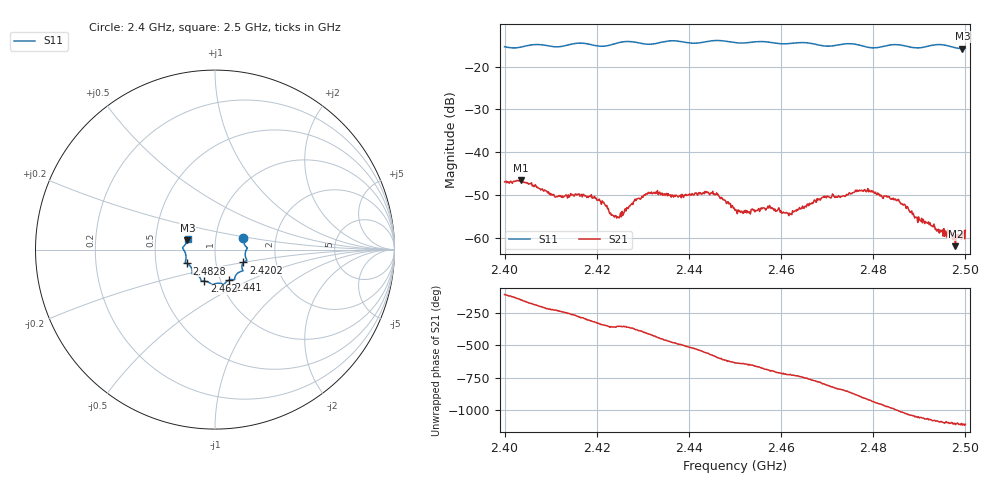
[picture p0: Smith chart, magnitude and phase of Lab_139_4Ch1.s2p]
# Hz S RI R 50
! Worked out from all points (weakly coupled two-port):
!   601 points, 2.4 GHz to 2.5 GHz, reference 50 ohm
!   highest |S21| = -46.54 dB at 2.4035 GHz (marker M1); lowest = -61.9 dB at 2.4978 GHz (marker M2)
!   lowest |S11| = -15.8 dB at 2.4993 GHz (marker M3), VSWR 1.39, Z = 36.5 + j3.85 ohm
!   |S11| at or under -10 dB: start of sweep to end of sweep
!   S12 and S22 are empty: the file has one direction only
!   S11 on the Smith chart (normalised r, x): 2.4 GHz: 1.36, +0.18; 2.4202 GHz: 1.36, -0.20; 2.441 GHz: 1.10, -0.39; 2.462 GHz: 0.84, -0.30; 2.4828 GHz: 0.72, -0.11; 2.5 GHz: 0.73, +0.09
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2.4e9  0.1584 0.0625  -0.0013 -0.00433  0 0  0 0
2.4035e9  0.1666 0.0239  -0.00401 -0.00248  0 0  0 0
2.411167e9  0.1688 -0.0187  -0.002 0.00227  0 0  0 0
2.416667e9  0.1774 -0.0606  0.000846 0.00313  0 0  0 0
2.420167e9  0.1585 -0.0715  0.00238 0.00142  0 0  0 0
2.424333e9  0.1522 -0.1093  0.0017 0.00019  0 0  0 0
2.428667e9  0.1482 -0.1203  0.00272 -0.000885  0 0  0 0
2.433333e9  0.1121 -0.1509  0.000521 -0.00316  0 0  0 0
2.441e9  0.0783 -0.1698  -0.00299 -0.00101  0 0  0 0
2.445667e9  0.0511 -0.1945  -0.00231 0.00221  0 0  0 0
2.45e9  0.0285 -0.1879  0.000243 0.00209  0 0  0 0
2.4575e9  -0.0225 -0.1907  0.00214 0.00108  0 0  0 0
2.462e9  -0.0602 -0.1758  0.00189 -0.000107  0 0  0 0
2.466667e9  -0.0788 -0.1681  0.00169 -0.00194  0 0  0 0
2.476667e9  -0.127 -0.1269  -0.00345 -0.000785  0 0  0 0
2.482833e9  -0.1573 -0.0769  -0.000927 0.00297  0 0  0 0
2.483333e9  -0.1604 -0.0755  -0.000769 0.00292  0 0  0 0
2.487e9  -0.1632 -0.0601  0.00137 0.00194  0 0  0 0
2.489833e9  -0.1631 -0.0259  0.00155 0.000848  0 0  0 0
2.497833e9  -0.1625 0.0322  0.00068 -0.000431  0 0  0 0
2.499333e9  -0.154 0.0514  0.000952 -0.000707  0 0  0 0
2.5e9  -0.1522 0.0608  0.00108 -0.000601  0 0  0 0
